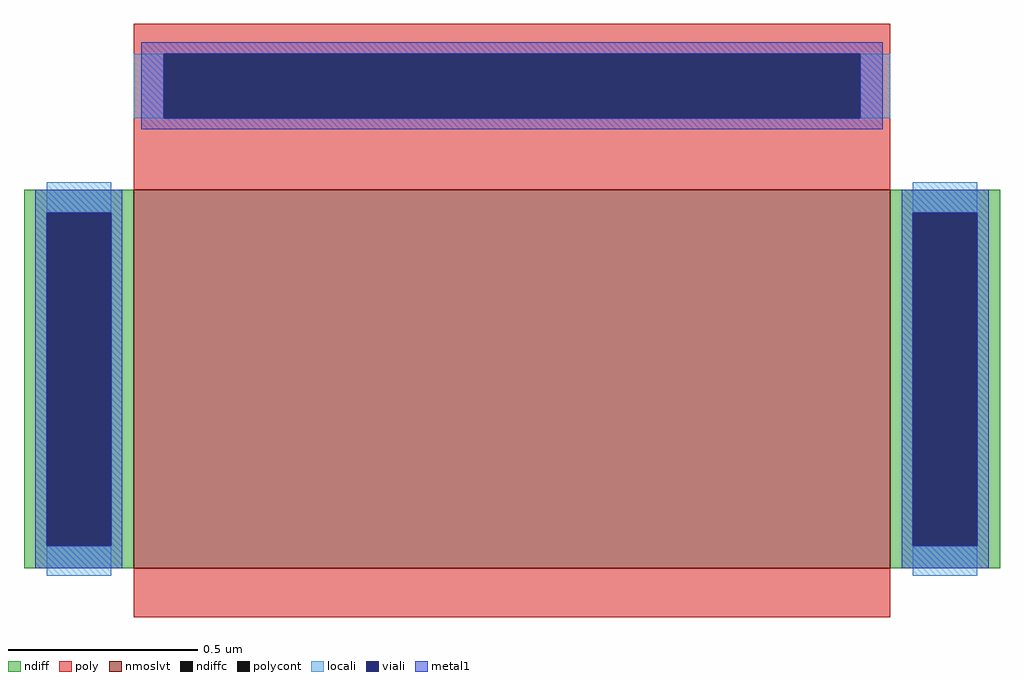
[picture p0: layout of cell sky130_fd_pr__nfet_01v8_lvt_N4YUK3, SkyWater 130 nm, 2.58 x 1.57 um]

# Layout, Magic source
magic
tech sky130A
magscale 1 2
<< nmoslvt >>
rect -200 -131 200 69
<< ndiff >>
rect -258 57 -200 69
rect -258 -119 -246 57
rect -212 -119 -200 57
rect -258 -131 -200 -119
rect 200 57 258 69
rect 200 -119 212 57
rect 246 -119 258 57
rect 200 -131 258 -119
<< ndiffc >>
rect -246 -119 -212 57
rect 212 -119 246 57
<< poly >>
rect -200 141 200 157
rect -200 107 -184 141
rect 184 107 200 141
rect -200 69 200 107
rect -200 -157 200 -131
<< polycont >>
rect -184 107 184 141
<< locali >>
rect -200 107 -184 141
rect 184 107 200 141
rect -246 57 -212 73
rect -246 -135 -212 -119
rect 212 57 246 73
rect 212 -135 246 -119
<< viali >>
rect -184 107 184 141
rect -246 -119 -212 57
rect 212 -119 246 57
<< metal1 >>
rect -196 141 196 147
rect -196 107 -184 141
rect 184 107 196 141
rect -196 101 196 107
rect -252 57 -206 69
rect -252 -119 -246 57
rect -212 -119 -206 57
rect -252 -131 -206 -119
rect 206 57 252 69
rect 206 -119 212 57
rect 246 -119 252 57
rect 206 -131 252 -119
<< properties >>
string gencell sky130_fd_pr__nfet_01v8_lvt
string library sky130
string parameters w 1 l 2.0 m 1 nf 1 diffcov 100 polycov 100 guard 0 glc 1 grc 1 gtc 1 gbc 1 tbcov 100 rlcov 100 topc 1 botc 0 poverlap 0 doverlap 1 lmin 0.15 wmin 0.42 compatible {sky130_fd_pr__nfet_01v8 sky130_fd_pr__nfet_01v8_lvt  sky130_fd_bs_flash__special_sonosfet_star  sky130_fd_pr__nfet_g5v0d10v5 sky130_fd_pr__nfet_05v0_nvt  sky130_fd_pr__nfet_03v3_nvt} full_metal 0 viasrc 100 viadrn 100 viagate 100 viagb 0 viagr 0 viagl 0 viagt 0
<< end >>
